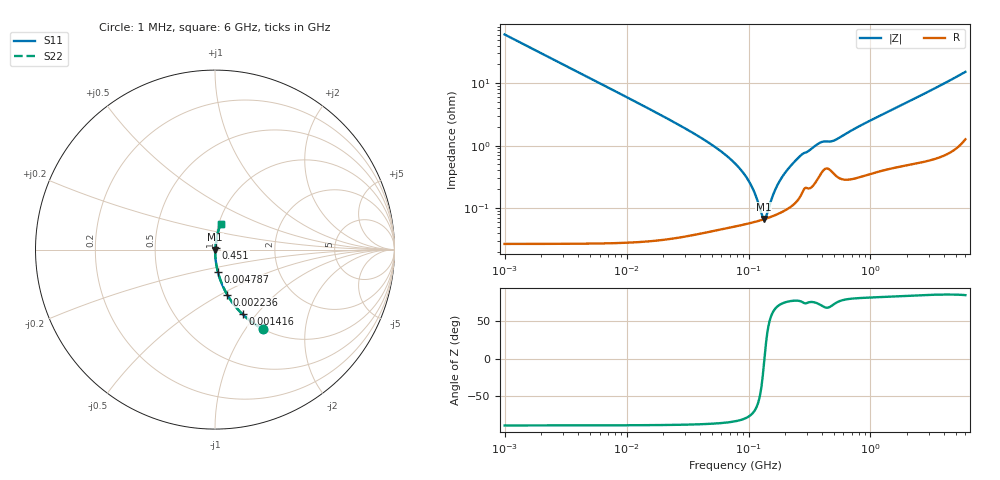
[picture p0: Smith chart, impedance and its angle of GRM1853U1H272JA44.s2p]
!Murata Part Number: GRM1853U1H272JA44
!These Parameters are Measured in Series Mode Connection
!Data Generated on Mar 30, 2021
!  o--ll--o
!Port1  Port2
!  o------o
!Operation Temp=25[degC], DC Bias Voltage=0[V]
!Freq. Start=1000[kHz] Stop=6[GHz] 401[Steps]
# Hz S RI R 50
!Freq.(Hz) S11(Real) S11(Imag) S21(Real) S21(Imag) S12(Real) S12(Imag) S22(Real) S22(Imag)
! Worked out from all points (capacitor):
!   401 points, 1 MHz to 6 GHz, reference 50 ohm
!   read as one part in series: C = 2.64 nF near 1.044 MHz
!   lowest |Z| = 67 mohm at 133.4 MHz (marker M1)
!   series resonance near 135.1 MHz, so ESL is about 530 pH
!   S11 on the Smith chart (normalised r, x): 1 MHz: 1.00, -1.21; 1.416 MHz: 1.00, -0.85; 2.236 MHz: 1.00, -0.54; 4.787 MHz: 1.00, -0.25; 451 MHz: 1.01, +0.02; 6 GHz: 1.03, +0.30
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1000000  0.2668 -0.4421  0.7332 0.4421  0.7332 0.4421  0.2668 -0.4421
1416205  0.1537 -0.3603  0.8463 0.3603  0.8463 0.3603  0.1537 -0.3603
2236037  0.068 -0.2513  0.932 0.2513  0.932 0.2513  0.068 -0.2513
4293785  0.0196 -0.1375  0.9804 0.1375  0.9804 0.1375  0.0196 -0.1375
4787042  0.0158 -0.1238  0.9842 0.1238  0.9842 0.1238  0.0158 -0.1238
1.843659e7  0.00133 -0.032  0.9987 0.032  0.9987 0.032  0.00133 -0.032
4.596069e7  0.000542 -0.0115  0.9995 0.0115  0.9995 0.0115  0.000542 -0.0115
7.745967e7  0.000532 -0.00516  0.9995 0.00516  0.9995 0.00516  0.000532 -0.00516
1.027698e8  0.000579 -0.00244  0.9994 0.00244  0.9994 0.00244  0.000579 -0.00244
1.145757e8  0.000607 -0.00146  0.9994 0.00146  0.9994 0.00146  0.000607 -0.00146
1.277378e8  0.000644 -0.000493  0.9994 0.000493  0.9994 0.000493  0.000644 -0.000493
1.334167e8  0.00066 -0.000109  0.9993 0.000109  0.9993 0.000109  0.00066 -0.000109
1.39348e8  0.000679 0.000275  0.9993 -0.000275  0.9993 -0.000275  0.000679 0.000275
1.658303e8  0.000774 0.00183  0.9992 -0.00183  0.9992 -0.00183  0.000774 0.00183
1.930997e8  0.000897 0.00325  0.9991 -0.00325  0.9991 -0.00325  0.000897 0.00325
2.618284e8  0.0015 0.00649  0.9985 -0.00649  0.9985 -0.00649  0.0015 0.00649
3.325952e8  0.00228 0.00881  0.9977 -0.00881  0.9977 -0.00881  0.00228 0.00881
3.958029e8  0.00374 0.0107  0.9963 -0.0107  0.9963 -0.0107  0.00374 0.0107
4.509737e8  0.00436 0.0107  0.9956 -0.0107  0.9956 -0.0107  0.00436 0.0107
5.138348e8  0.00349 0.0118  0.9965 -0.0118  0.9965 -0.0118  0.00349 0.0118
1.428092e9  0.00546 0.0352  0.9945 -0.0352  0.9945 -0.0352  0.00546 0.0352
6e9  0.0341 0.1446  0.9659 -0.1446  0.9659 -0.1446  0.0341 0.1446
